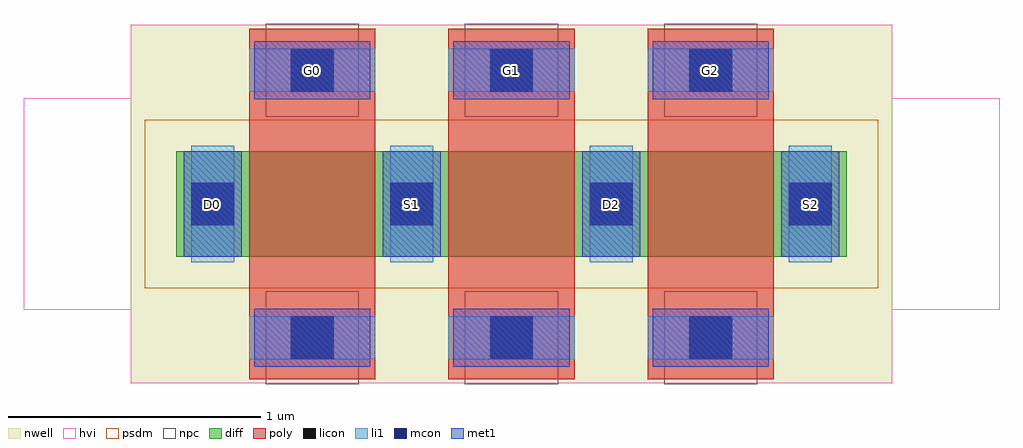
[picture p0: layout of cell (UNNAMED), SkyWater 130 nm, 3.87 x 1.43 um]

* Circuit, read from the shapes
.subckt (UNNAMED) D0 D2 G0 G1 G2 S1 S2
XM1 S1 G0 D0 n1 sky130_fd_pr__pfet_g5v0d10v5 w=0.42 l=0.5
XM2 D2 G1 S1 n1 sky130_fd_pr__pfet_g5v0d10v5 w=0.42 l=0.5
XM3 S2 G2 D2 n1 sky130_fd_pr__pfet_g5v0d10v5 w=0.42 l=0.5
.ends

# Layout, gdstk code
import gdstk
lib = gdstk.Library(unit=1e-6, precision=1e-09)
def R(c, l, rs):  # rectangles x0, y0, x1, y1
    for r in rs: c.add(gdstk.rectangle(r[:2], r[2:], *l))
def A(c, l, x, y, w, h, nx, ny, dx, dy):  # array of equal rectangles
    R(c, l, [(x+i*dx, y+j*dy, x+i*dx+w, y+j*dy+h) for i in range(nx) for j in range(ny)])
nwell = (64, 20)
diff = (65, 20)
poly = (66, 20)
licon = (66, 44)
li1 = (67, 20)
mcon = (67, 44)
met1 = (68, 20)
hvi = (75, 20)
psdm = (94, 20)
npc = (95, 20)

c__unnamed_ = lib.new_cell('(UNNAMED)')
R(c__unnamed_, nwell, [(-1.51,-0.71,1.51,0.71)])
R(c__unnamed_, diff, [(-1.33,-0.21,1.33,0.21)])
A(c__unnamed_, poly, -1.04, -0.695, 0.5, 1.39, 3, 1, 0.79, 0)
A(c__unnamed_, licon, -0.875, -0.615, 0.17, 0.17, 3, 2, 0.79, 1.06)
A(c__unnamed_, licon, -1.27, -0.085, 0.17, 0.17, 4, 1, 0.79, 0)
A(c__unnamed_, li1, -1.04, -0.615, 0.5, 0.17, 3, 2, 0.79, 1.06)
A(c__unnamed_, li1, -1.27, -0.23, 0.17, 0.46, 4, 1, 0.79, 0)
A(c__unnamed_, mcon, -0.875, -0.615, 0.17, 0.17, 3, 2, 0.79, 1.06)
A(c__unnamed_, mcon, -1.27, -0.085, 0.17, 0.17, 4, 1, 0.79, 0)
A(c__unnamed_, met1, -1.02, -0.645, 0.46, 0.23, 3, 2, 0.79, 1.06)
A(c__unnamed_, met1, -1.3, -0.21, 0.23, 0.42, 4, 1, 0.79, 0)
R(c__unnamed_, hvi, [(-1.51,-0.71,1.51,-0.42), (-1.935,-0.42,1.935,0.42), (-1.51,0.42,1.51,0.71)])
R(c__unnamed_, psdm, [(-1.455,-0.335,1.455,0.335)])
A(c__unnamed_, npc, -0.975, -0.715, 0.37, 0.37, 3, 2, 0.79, 1.06)
c__unnamed_.add(gdstk.Label('D0', (-1.185,0), layer=67, texttype=5))
c__unnamed_.add(gdstk.Label('G0', (-0.79,0.53), layer=67, texttype=5))
c__unnamed_.add(gdstk.Label('S1', (-0.395,0), layer=67, texttype=5))
c__unnamed_.add(gdstk.Label('G1', (0,0.53), layer=67, texttype=5))
c__unnamed_.add(gdstk.Label('D2', (0.395,0), layer=67, texttype=5))
c__unnamed_.add(gdstk.Label('S2', (1.185,0), layer=67, texttype=5))
c__unnamed_.add(gdstk.Label('G2', (0.79,0.53), layer=67, texttype=5))

lib.write_gds('_UNNAMED_.gds')
